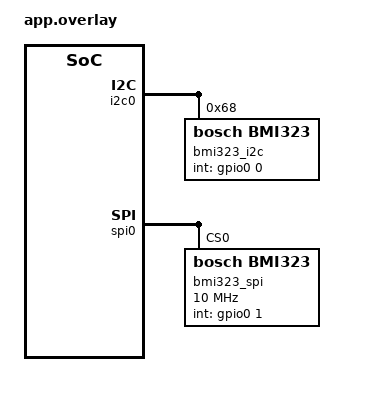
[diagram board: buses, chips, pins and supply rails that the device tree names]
/*
 * Copyright (c) 2026 Chaogui Deng
 * SPDX-License-Identifier: Apache-2.0
 */

#include <zephyr/dt-bindings/gpio/gpio.h>
#include <zephyr/dt-bindings/sensor/bmi323.h>

&i2c0 {
	/* Configured from devicetree, to cover the non-default path. */
	bmi323_i2c: bmi323@68 {
		compatible = "bosch,bmi323";
		reg = <0x68>;
		int-gpios = <&gpio0 0 GPIO_ACTIVE_HIGH>;
		accel-pwr-mode = <BMI323_DT_PWR_MODE_HIGH_PERF>;
		accel-odr = <BMI323_DT_ODR_200_HZ>;
		gyro-pwr-mode = <BMI323_DT_PWR_MODE_LOW_POWER>;
		gyro-odr = <BMI323_DT_ODR_50_HZ>;
	};
};

&spi0 {
	/* Left at the binding defaults, to cover the power-on reset path. */
	bmi323_spi: bmi323@0 {
		compatible = "bosch,bmi323";
		reg = <0>;
		spi-max-frequency = <10000000>;
		int-gpios = <&gpio0 1 GPIO_ACTIVE_HIGH>;
	};
};
